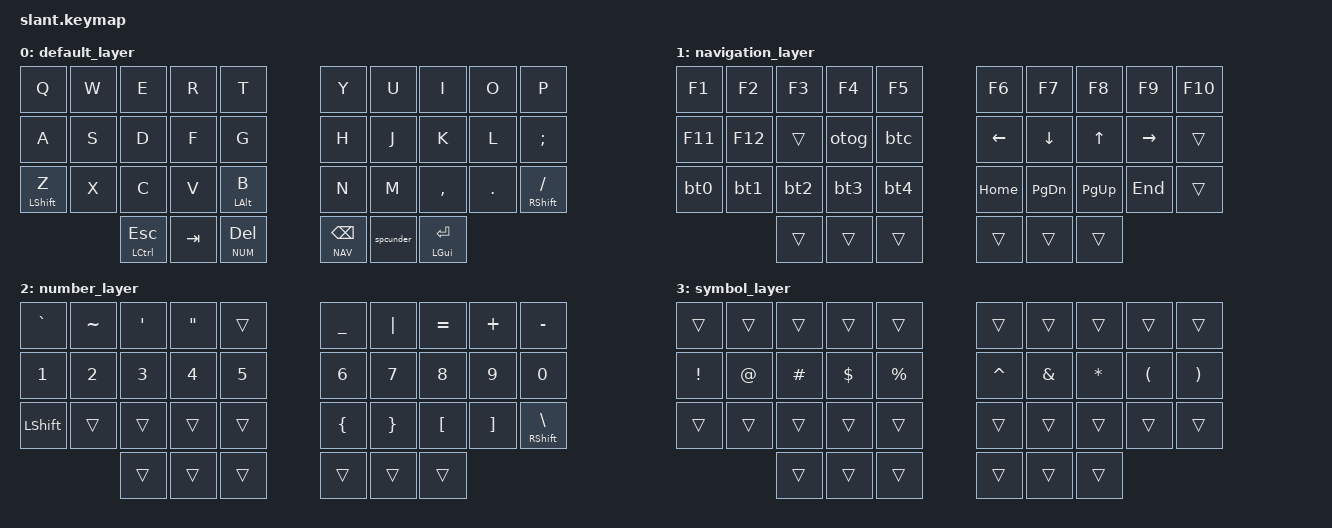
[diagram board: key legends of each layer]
#include <behaviors.dtsi>
#include <dt-bindings/zmk/keys.h>
#include <dt-bindings/zmk/bt.h>
#include <dt-bindings/zmk/outputs.h>

#define STRINGIFY(x) #x
#define DOUBLE_TAP(NAME, BINDING1, BINDING2) \
    NAME: NAME { \
      compatible = "zmk,behavior-tap-dance"; \
      label = STRINGIFY(NAME); \
      #binding-cells = <0>; \
      tapping-term-ms = <200>; \
      bindings = <BINDING1>, <BINDING2>; \
    };
#define DOUBLE_TAP_GUARD(NAME, BINDING) DOUBLE_TAP(NAME, &none, BINDING)

#define DEFAULT 0
#define NAV     1
#define NUM     2
#define SYM     3

// this modifies all layer taps so that a quick tap-hold action
// will repeat the tap instead of triggering the layer
&lt { quick_tap_ms = <200>; };

/ {
    behaviors {
        // must double-tap for bluetooth functions
        DOUBLE_TAP(bt0, &kp LSHFT, &bt BT_SEL 0)
        DOUBLE_TAP_GUARD(bt1, &bt BT_SEL 1)
        DOUBLE_TAP_GUARD(bt2, &bt BT_SEL 2)
        DOUBLE_TAP_GUARD(bt3, &bt BT_SEL 3)
        DOUBLE_TAP(bt4, &kp LALT, &bt BT_SEL 4)
        DOUBLE_TAP_GUARD(btc, &bt BT_CLR)
        DOUBLE_TAP_GUARD(otog, &out OUT_TOG)
        
        // shift-space is underscore
        spcunder: space_underscore {
            compatible = "zmk,behavior-mod-morph";
            label = "SPACE_UNDERSCORE";
            #binding-cells = <0>;
            bindings = <&kp SPACE>, <&kp UNDER>;
            mods = <(MOD_LSFT|MOD_RSFT)>;
        };

        // mod tap that holds the tap key if double-tapped
        hmt: held_mod_tap {
            compatible = "zmk,behavior-hold-tap";
            label = "HELD_MOD_TAP";
            #binding-cells = <2>;
            flavor = "hold-preferred";
            tapping-term-ms = <200>;
            quick_tap_ms = <200>;
            bindings = <&kp>, <&kp>;
        };
        
        hm: homerow_mods {
            compatible = "zmk,behavior-hold-tap";
            label = "HOMEROW_MODS";
            #binding-cells = <2>;
            tapping-term-ms = <200>;
            quick-tap-ms = <0>;
            flavor = "tap-preferred";
            bindings = <&kp>, <&kp>;
        };
        
        bhm: balanced_homerow_mods {
            compatible = "zmk,behavior-hold-tap";
            label = "HOMEROW_MODS_BAL";
            #binding-cells = <2>;
            tapping-term-ms = <200>;
            quick-tap-ms = <0>;
            flavor = "balanced";
            bindings = <&kp>, <&kp>;
        };
    };
    
    conditional_layers {
        compatible = "zmk,conditional-layers";
        tri_layer {
            if-layers = <NAV NUM>;
            then-layer = <SYM>;
        };
    };

    combos {
        compatible = "zmk,combos";
        combo_capsword {
            timeout-ms = <100>;
            key-positions = <20 29>;
            bindings = <&caps_word>;
        };
    };

    keymap {
        compatible = "zmk,keymap";

        default_layer {
// ----------------------------------------------------------------------------------------------------------------------------
// |    Q    |    W    |    E    |    R    |    T    |                      |    Y    |    U    |    I    |    O    |    P    |
// |    A    |    S    |    D    |    F    |    G    |                      |    H    |    J    |    K    |    L    |   ;:    |
// |    Z    |    X    |    C    |    V    |    B    |                      |    N    |    M    |   ,<    |   .>    |   /?    |
//                               |   ESC   |   TAB   |   DEL   |  |  BSPC   |  SPACE_ | RETURN  |
            bindings = <
    &kp Q       &kp W     &kp E     &kp R         &kp T                                   &kp Y     &kp U     &kp I     &kp O     &kp P   
    &kp A       &kp S     &kp D     &kp F         &kp G                                   &kp H     &kp J     &kp K     &kp L     &kp SEMI
    &mt LSHFT Z &kp X     &kp C     &kp V         &hm LALT B                              &kp N     &kp M     &kp COMMA &kp DOT   &mt RSHFT FSLH
                                    &mt LCTRL ESC &kp TAB     &lt NUM DEL   &lt NAV BSPC  &spcunder &hmt LGUI RET
            >;
        };

        navigation_layer {
// ----------------------------------------------------------------------------------------------------------------------------
// |   F1    |   F2    |   F3    |   F4    |   F5    |                      |   F6    |   F7    |   F8    |   F9    |   F10   |
// |   F11   |   F12   |         | OUT_TOG | BT CLR  |                      |         |   <-    |    v    |    ^    |   ->    |
// |   BT0   |   BT1   |   BT2   |   BT3   |   BT4   |                      |         |  Home   | Pg Down |  Pg Up  |   End   |
//                               |         |         |         |  |         |         |         |
            bindings = <
    &kp F1   &kp F2    &kp F3    &kp F4    &kp F5                           &kp F6    &kp F7    &kp F8    &kp F9    &kp F10
    &kp F11  &kp F12   &trans    &otog     &btc                             &kp LEFT  &kp DOWN  &kp UP    &kp RIGHT &trans
    &bt0     &bt1      &bt2      &bt3      &bt4                             &kp HOME  &kp PG_DN &kp PG_UP &kp END   &trans
                                 &trans    &trans    &trans       &trans    &trans    &trans
            >;
        };

        number_layer {
// ----------------------------------------------------------------------------------------------------------------------------
// |    `    |    ~    |    '    |    "    |         |                      |    _    |    |    |    =    |    +    |    -    |
// |    1!   |    2@   |    3#   |    4$   |    5%   |                      |    6^   |    7&   |    8*   |    9(   |    0)   |
// |         |         |         |         |         |                      |    {    |    }    |    [    |    ]    |    \    |
//                               |         |         |         |  |         |         |         |
            bindings = <
    &kp GRAVE &kp TILDE &kp APOS  &kp DQT  &trans                           &kp UNDER &kp PIPE  &kp EQUAL &kp PLUS  &kp MINUS
    &kp N1   &kp N2    &kp N3    &kp N4    &kp N5                           &kp N6    &kp N7    &kp N8    &kp N9    &kp N0
    &kp LSHFT &trans    &trans    &trans   &trans                           &kp LBRC  &kp RBRC  &kp LBKT  &kp RBKT  &mt RSHFT BSLH
                                  &trans   &trans    &trans       &trans    &trans    &trans
            >;
        };

        // the symbol layer can only be activated by activating both the navigation and number layers
        // so the number layer is always enabled, causing non-homerow presses to be handled by the number layer
        symbol_layer {
// ----------------------------------------------------------------------------------------------------------------------------
// |    `    |    ~    |    '    |    "    |         |                      |    _    |    |    |    =    |    +    |    -    |
// |    !    |    @    |    #    |    $    |    %    |                      |    ^    |    &    |    *    |    (    |    )    |
// |         |         |         |         |         |                      |    {    |    }    |    [    |    ]    |    \    |
//                               |         |         |         |  |         |         |         |
            bindings = <
    &trans   &trans    &trans    &trans    &trans                           &trans    &trans    &trans    &trans    &trans
    &kp EXCL &kp AT    &kp POUND &kp DLLR  &kp PRCNT                        &kp CARET &kp AMPS  &kp ASTRK &kp LPAR  &kp RPAR
    &trans   &trans    &trans    &trans    &trans                           &trans    &trans    &trans    &trans    &trans
                                 &trans    &trans    &trans       &trans    &trans    &trans
            >;
        };
    };
};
